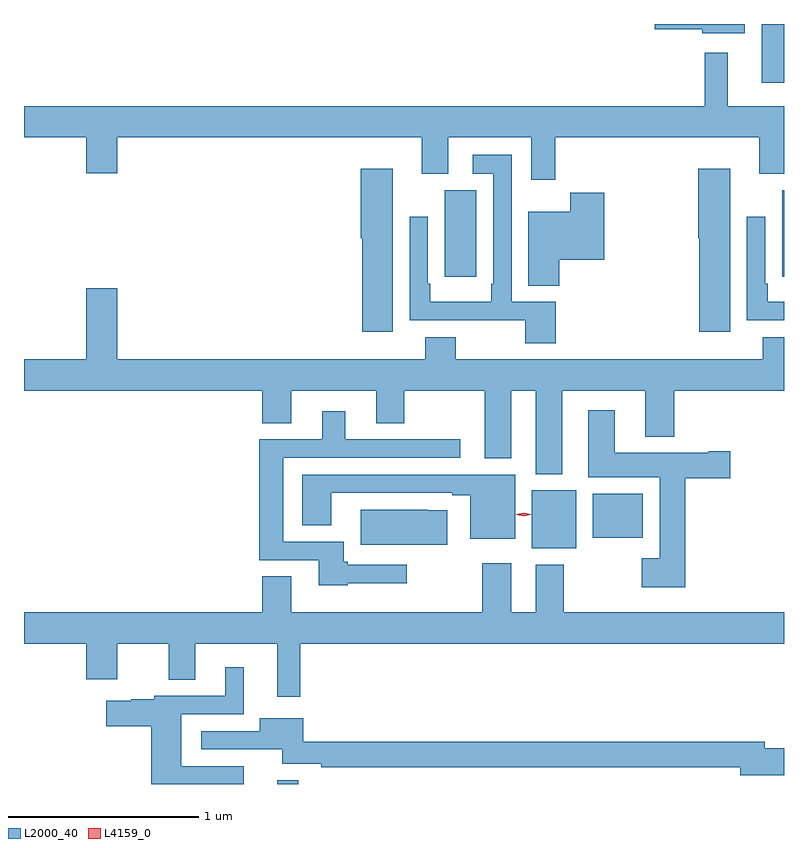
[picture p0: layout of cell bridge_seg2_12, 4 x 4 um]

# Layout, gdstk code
import gdstk
lib = gdstk.Library(unit=1e-6, precision=1e-09)
def R(c, l, rs):  # rectangles x0, y0, x1, y1
    for r in rs: c.add(gdstk.rectangle(r[:2], r[2:], *l))
def P(c, l, *ps):  # polygons
    for p in ps: c.add(gdstk.Polygon(p, *l))
L2000_40 = (2000, 40)
L4159_0 = (4159, 0)

bridge_seg2_12 = lib.new_cell('bridge_seg2_12')
R(bridge_seg2_12, L2000_40, [(765.413,610.933,765.524,610.954), (766.754,612.173,766.987,612.478), (767.075,612.23,767.338,612.46), (766.295,613.602,766.462,614.059), (768.071,613.602,768.081,614.059), (767.963,614.625,768.081,614.933)])
P(bridge_seg2_12, L2000_40, [(767.875,614.933),(767.4,614.933),(767.4,614.905),(767.652,614.905),(767.652,614.885),(767.875,614.885)],
  [(766.877,614.336),(767.951,614.336),(767.951,614.144),(768.081,614.144),(768.081,614.5),(767.785,614.5),(767.785,614.782),(767.664,614.782),(767.664,614.5),(764.081,614.5),(764.081,614.336),(764.408,614.336),(764.408,614.148),(764.572,614.148),(764.572,614.336),(766.175,614.336),(766.175,614.144),(766.315,614.144),(766.315,614.336),(766.751,614.336),(766.751,614.112),(766.877,614.112)],
  [(766.88,613.47),(766.647,613.47),(766.647,614.245),(766.443,614.245),(766.443,614.144),(766.551,614.144),(766.551,613.567),(766.539,613.567),(766.539,613.471),(766.219,613.471),(766.219,613.567),(766.206,613.567),(766.206,613.918),(766.11,613.918),(766.11,613.374),(766.454,613.374),(766.454,613.373),(766.72,613.373),(766.72,613.254),(766.88,613.254)],
  [(766.021,614.17),(765.854,614.17),(765.854,613.806),(765.86,613.806),(765.86,613.314),(766.021,613.314)],
  [(767.797,614.17),(767.63,614.17),(767.63,613.806),(767.636,613.806),(767.636,613.314),(767.797,613.314)],
  [(766.898,613.691),(767.135,613.691),(767.135,614.044),(766.957,614.044),(766.957,613.945),(766.736,613.945),(766.736,613.555),(766.898,613.555)],
  [(768.081,613.471),(767.995,613.471),(767.995,613.567),(767.982,613.567),(767.982,613.918),(767.886,613.918),(767.886,613.374),(768.081,613.374)],
  [(766.915,613.004),(767.351,613.004),(767.351,612.761),(767.504,612.761),(767.504,613.004),(768.081,613.004),(768.081,613.285),(767.969,613.285),(767.969,613.168),(766.353,613.168),(766.353,613.285),(766.193,613.285),(766.193,613.168),(764.572,613.168),(764.572,613.543),(764.408,613.543),(764.408,613.168),(764.081,613.168),(764.081,613.004),(765.335,613.004),(765.335,612.832),(765.487,612.832),(765.487,613.004),(765.935,613.004),(765.935,612.832),(766.083,612.832),(766.083,613.004),(766.505,613.004),(766.505,612.647),(766.645,612.647),(766.645,613.004),(766.775,613.004),(766.775,612.563),(766.915,612.563)],
  [(767.561,612.542),(767.797,612.542),(767.797,612.684),(767.684,612.684),(767.684,612.676),(767.191,612.676),(767.191,612.901),(767.051,612.901),(767.051,612.548),(767.426,612.548),(767.426,612.121),(767.331,612.121),(767.331,611.969),(767.561,611.969)],
  [(765.786,611.99),(766.096,611.99),(766.096,612.087),(765.786,612.087),(765.786,612.104),(765.763,612.104),(765.763,612.207),(765.445,612.207),(765.445,612.651),(766.378,612.651),(766.378,612.747),(765.772,612.747),(765.772,612.895),(765.65,612.895),(765.65,612.747),(765.32,612.747),(765.32,612.111),(765.632,612.111),(765.632,611.978),(765.786,611.978)],
  [(766.666,612.561),(765.545,612.561),(765.545,612.294),(765.697,612.294),(765.697,612.465),(766.334,612.465),(766.334,612.452),(766.43,612.452),(766.43,612.224),(766.666,612.224)],
  [(766.308,612.375),(766.205,612.375),(766.205,612.376),(765.854,612.376),(765.854,612.191),(766.308,612.191)],
  [(768.081,611.836),(766.923,611.836),(766.923,612.088),(766.775,612.088),(766.775,611.836),(766.645,611.836),(766.645,612.094),(766.493,612.094),(766.493,611.836),(765.487,611.836),(765.487,612.026),(765.335,612.026),(765.335,611.836),(764.081,611.836),(764.081,611.672),(764.408,611.672),(764.408,611.484),(764.572,611.484),(764.572,611.672),(764.843,611.672),(764.843,611.482),(764.983,611.482),(764.983,611.672),(765.413,611.672),(765.413,611.391),(765.535,611.391),(765.535,611.672),(768.081,611.672)],
  [(765.238,611.026),(764.908,611.026),(764.908,611.301),(765.238,611.301),(765.238,611.548),(765.14,611.548),(765.14,611.397),(764.766,611.397),(764.766,611.379),(764.646,611.379),(764.646,611.371),(764.514,611.371),(764.514,611.237),(764.75,611.237),(764.75,610.933),(765.238,610.933)],
  [(768.081,611.12),(767.98,611.12),(767.98,611.156),(765.55,611.156),(765.55,611.278),(765.323,611.278),(765.323,611.211),(765.015,611.211),(765.015,611.115),(765.44,611.115),(765.44,611.04),(765.646,611.04),(765.646,611.02),(767.852,611.02),(767.852,610.978),(768.081,610.978)])
P(bridge_seg2_12, L4159_0, [(766.71,612.341),(766.673,612.351),(766.673,612.351),(766.673,612.352),(766.71,612.361),(766.748,612.352),(766.748,612.351),(766.748,612.351)])

lib.write_gds('bridge_seg2_12.gds')
